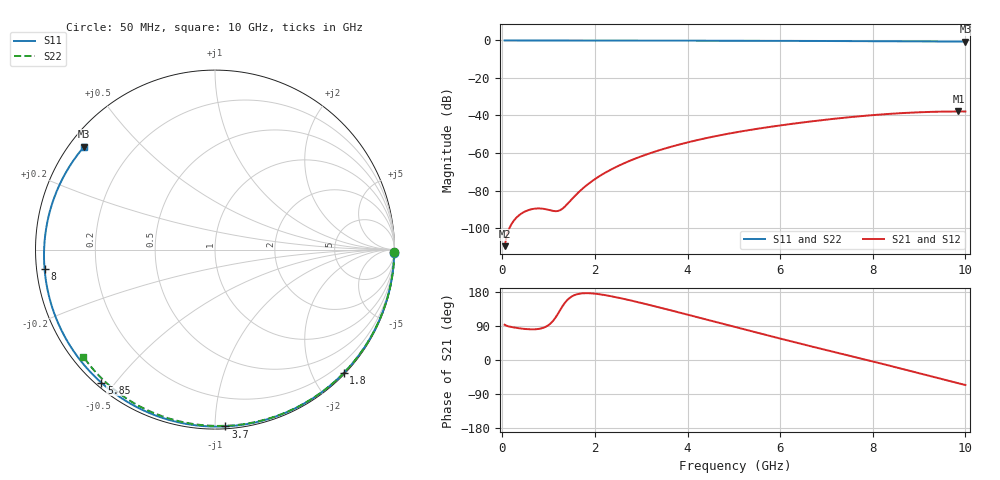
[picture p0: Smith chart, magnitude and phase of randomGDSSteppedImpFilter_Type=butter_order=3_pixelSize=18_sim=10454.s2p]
! freq	dB(S11)	phase(S11)	dB(S12)	phase(S12)
!  dB(S21)	phase(S21)	dB(S22)	phase(S22)
!S-par simulation data
#  GHz  S  DB  R 50
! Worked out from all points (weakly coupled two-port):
!   200 points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, 50 MHz to 10 GHz, reference 50 ohm
!   highest |S21| = -37.87 dB at 9.85 GHz (marker M1); lowest = -109.7 dB at 50 MHz (marker M2)
!   lowest |S11| = -0.7 dB at 10 GHz (marker M3), VSWR 26.73, Z = 2.1 + j17.3 ohm
!   |S11| at or under -10 dB: nowhere
!   |S22| runs from -0.5 to 0.0 dB; largest |S21 - S12| = 0
!   S11 on the Smith chart (normalised r, x): 50 MHz: 7, -93; 1.8 GHz: 0.02, -2.48; 3.7 GHz: 0.01, -1.06; 5.85 GHz: 0.02, -0.46; 8 GHz: 0.02, -0.06; 10 GHz: 0.04, +0.35
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0.05  -0.01 -1.2  -109.66 93.1  -109.66 93.1  -0.01 -0.8
0.8  -0.03 -19.8  -89.56 82.3  -89.56 82.3  -0.02 -12.9
1.2  -0.04 -29.5  -90.91 121.7  -90.91 121.7  -0.02 -19.4
1.65  -0.05 -40.3  -80.87 174.6  -80.87 174.6  -0.03 -26.5
1.7  -0.05 -41.5  -79.73 175.6  -79.73 175.6  -0.03 -27.3
1.75  -0.05 -42.7  -78.64 176.1  -78.64 176.1  -0.04 -28.1
1.8  -0.06 -43.9  -77.60 176.4  -77.60 176.4  -0.04 -28.9
2.1  -0.06 -50.9  -72.32 173.5  -72.32 173.5  -0.04 -33.6
2.45  -0.07 -59.0  -67.53 165.8  -67.53 165.8  -0.05 -39.0
2.9  -0.09 -69.1  -62.71 153.5  -62.71 153.5  -0.06 -45.9
3.4  -0.10 -80.2  -58.45 138.5  -58.45 138.5  -0.07 -53.4
3.7  -0.11 -86.6  -56.29 129.2  -56.29 129.2  -0.08 -57.8
4.35  -0.14 -100.3  -52.35 108.6  -52.35 108.6  -0.10 -67.3
5.05  -0.17 -114.6  -48.95 86.4  -48.95 86.4  -0.12 -77.1
5.85  -0.22 -130.5  -45.83 61.2  -45.83 61.2  -0.15 -88.1
6.7  -0.28 -147.3  -43.08 35.0  -43.08 35.0  -0.19 -99.3
7.35  -0.33 -160.2  -41.28 15.6  -41.28 15.6  -0.23 -107.7
8  -0.39 -173.4  -39.81 -3.9  -39.81 -3.9  -0.28 -115.9
8.35  -0.43 179.3  -39.16 -14.6  -39.16 -14.6  -0.31 -120.3
9.1  -0.52 163.0  -38.20 -38.1  -38.20 -38.1  -0.38 -129.6
9.85  -0.63 145.4  -37.87 -61.5  -37.87 -61.5  -0.47 -138.9
10  -0.65 141.8  -37.88 -66.0  -37.88 -66.0  -0.48 -140.8
